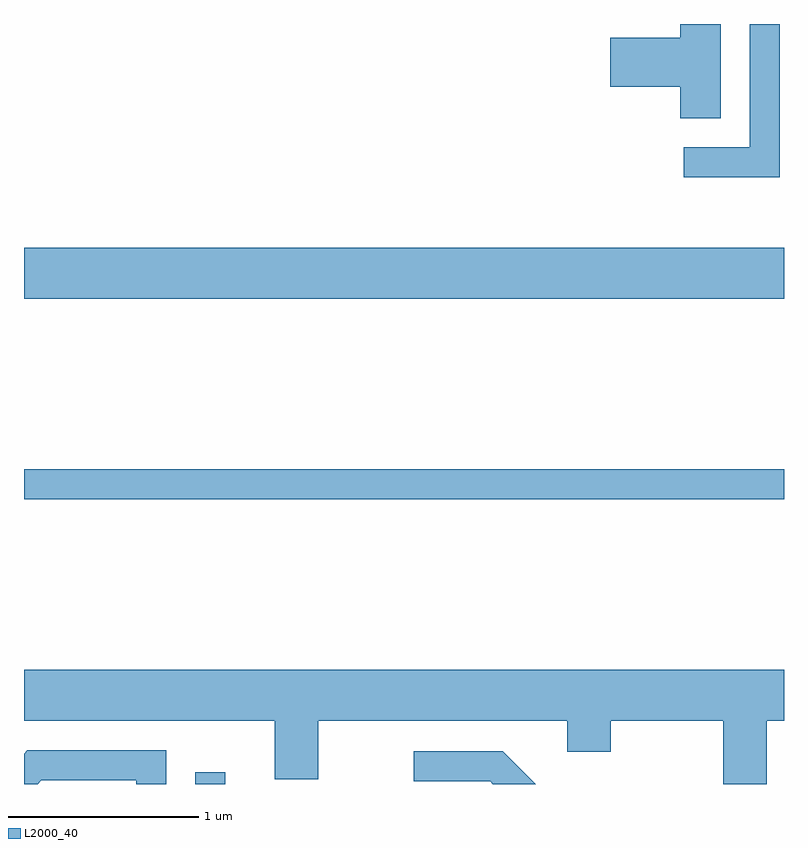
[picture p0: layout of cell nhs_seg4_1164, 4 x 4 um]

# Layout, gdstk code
import gdstk
lib = gdstk.Library(unit=1e-6, precision=1e-09)
def R(c, l, rs):  # rectangles x0, y0, x1, y1
    for r in rs: c.add(gdstk.rectangle(r[:2], r[2:], *l))
def P(c, l, *ps):  # polygons
    for p in ps: c.add(gdstk.Polygon(p, *l))
L2000_40 = (2000, 40)

nhs_seg4_1164 = lib.new_cell('nhs_seg4_1164')
R(nhs_seg4_1164, L2000_40, [(220.511,1269.982,220.669,1270.043), (219.611,1271.481,223.611,1271.639), (219.611,1272.536,223.611,1272.804)])
P(nhs_seg4_1164, L2000_40, [(223.589,1273.982),(223.431,1273.982),(223.431,1273.334),(223.083,1273.334),(223.083,1273.176),(223.589,1273.176)],
  [(223.279,1273.982),(223.066,1273.982),(223.066,1273.909),(222.696,1273.909),(222.696,1273.651),(223.066,1273.651),(223.066,1273.486),(223.279,1273.486)],
  [(223.519,1270.316),(223.611,1270.316),(223.611,1270.584),(219.611,1270.584),(219.611,1270.316),(220.931,1270.316),(220.931,1270.006),(221.159,1270.006),(221.159,1270.316),(222.471,1270.316),(222.471,1270.151),(222.699,1270.151),(222.699,1270.316),(223.291,1270.316),(223.291,1269.982),(223.519,1269.982)],
  [(219.702,1270.001),(220.201,1270.001),(220.201,1269.982),(220.359,1269.982),(220.359,1270.159),(219.629,1270.159),(219.611,1270.141),(219.611,1269.982),(219.683,1269.982)],
  [(222.132,1270.154),(221.663,1270.154),(221.663,1269.996),(222.064,1269.996),(222.078,1269.982),(222.304,1269.982)])

lib.write_gds('nhs_seg4_1164.gds')
